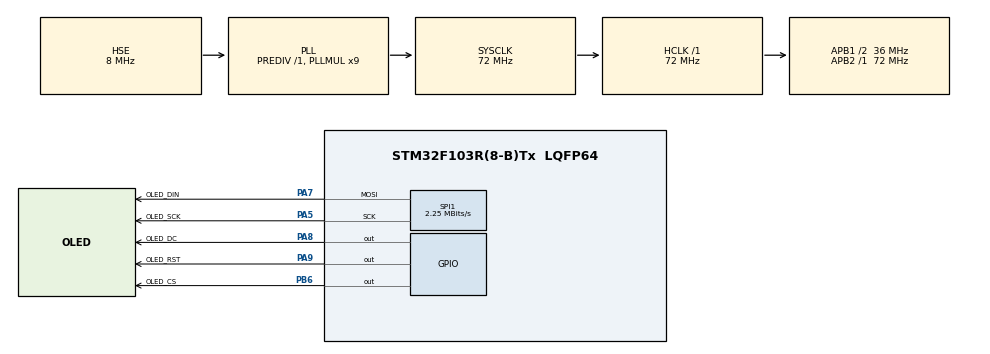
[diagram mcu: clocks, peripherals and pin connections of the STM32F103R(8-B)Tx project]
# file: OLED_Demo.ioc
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Mcu.Family=STM32F1
Mcu.Name=STM32F103R(8-B)Tx
Mcu.Package=LQFP64
NVIC.PriorityGroup=NVIC_PRIORITYGROUP_4
PA13.Mode=Serial_Wire
PA13.Signal=SYS_JTMS-SWDIO
PA14.Mode=Serial_Wire
PA14.Signal=SYS_JTCK-SWCLK
PA5.GPIO_Label=OLED_SCK
PA5.Mode=TX_Only_Simplex_Unidirect_Master
PA5.Signal=SPI1_SCK
PA7.GPIO_Label=OLED_DIN
PA7.Mode=TX_Only_Simplex_Unidirect_Master
PA7.Signal=SPI1_MOSI
PA8.GPIO_Label=OLED_DC
PA8.GPIO_Speed=GPIO_SPEED_FREQ_HIGH
PA8.PinState=GPIO_PIN_SET
PA8.Signal=GPIO_Output
PA9.GPIO_Label=OLED_RST
PA9.GPIO_Speed=GPIO_SPEED_FREQ_HIGH
PA9.PinState=GPIO_PIN_SET
PA9.Signal=GPIO_Output
PB6.GPIO_Label=OLED_CS
PB6.GPIO_Speed=GPIO_SPEED_FREQ_HIGH
PB6.PinState=GPIO_PIN_SET
PB6.Signal=GPIO_Output
PD0-OSC_IN.Mode=HSE-External-Oscillator
PD0-OSC_IN.Signal=RCC_OSC_IN
PD1-OSC_OUT.Mode=HSE-External-Oscillator
PD1-OSC_OUT.Signal=RCC_OSC_OUT
ProjectManager.HeapSize=0x200
ProjectManager.StackSize=0x400
ProjectManager.TargetToolchain=MDK-ARM V5
RCC.AHBFreq_Value=72000000
RCC.APB1CLKDivider=RCC_HCLK_DIV2
RCC.APB1Freq_Value=36000000
RCC.APB1TimFreq_Value=72000000
RCC.APB2Freq_Value=72000000
RCC.APB2TimFreq_Value=72000000
RCC.HCLKFreq_Value=72000000
RCC.PLLMUL=RCC_PLL_MUL9
RCC.PLLSourceVirtual=RCC_PLLSOURCE_HSE
RCC.SYSCLKFreq_VALUE=72000000
RCC.SYSCLKSource=RCC_SYSCLKSOURCE_PLLCLK
RCC.USBFreq_Value=72000000
SPI1.BaudRatePrescaler=SPI_BAUDRATEPRESCALER_32
SPI1.CalculateBaudRate=2.25 MBits/s
SPI1.Direction=SPI_DIRECTION_2LINES
SPI1.Mode=SPI_MODE_MASTER
SPI1.VirtualType=VM_MASTER
board=OLED_Demo

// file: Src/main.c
/**
  ******************************************************************************
  * @file           : main.c
  * @brief          : Main program body
  ******************************************************************************
  ** This notice applies to any and all portions of this file
  * that are not between comment pairs USER CODE BEGIN and
  * USER CODE END. Other portions of this file, whether
  * inserted by the user or by software development tools
  * are owned by their respective copyright owners.
  *
  * COPYRIGHT(c) 2018 STMicroelectronics
  *
  * Redistribution and use in source and binary forms, with or without modification,
  * are permitted provided that the following conditions are met:
  *   1. Redistributions of source code must retain the above copyright notice,
  *      this list of conditions and the following disclaimer.
  *   2. Redistributions in binary form must reproduce the above copyright notice,
  *      this list of conditions and the following disclaimer in the documentation
  *      and/or other materials provided with the distribution.
  *   3. Neither the name of STMicroelectronics nor the names of its contributors
  *      may be used to endorse or promote products derived from this software
  *      without specific prior written permission.
  *
  * THIS SOFTWARE IS PROVIDED BY THE COPYRIGHT HOLDERS AND CONTRIBUTORS "AS IS"
  * AND ANY EXPRESS OR IMPLIED WARRANTIES, INCLUDING, BUT NOT LIMITED TO, THE
  * IMPLIED WARRANTIES OF MERCHANTABILITY AND FITNESS FOR A PARTICULAR PURPOSE ARE
  * DISCLAIMED. IN NO EVENT SHALL THE COPYRIGHT HOLDER OR CONTRIBUTORS BE LIABLE
  * FOR ANY DIRECT, INDIRECT, INCIDENTAL, SPECIAL, EXEMPLARY, OR CONSEQUENTIAL
  * DAMAGES (INCLUDING, BUT NOT LIMITED TO, PROCUREMENT OF SUBSTITUTE GOODS OR
  * SERVICES; LOSS OF USE, DATA, OR PROFITS; OR BUSINESS INTERRUPTION) HOWEVER
  * CAUSED AND ON ANY THEORY OF LIABILITY, WHETHER IN CONTRACT, STRICT LIABILITY,
  * OR TORT (INCLUDING NEGLIGENCE OR OTHERWISE) ARISING IN ANY WAY OUT OF THE USE
  * OF THIS SOFTWARE, EVEN IF ADVISED OF THE POSSIBILITY OF SUCH DAMAGE.
  *
  ******************************************************************************
  */
#include "main.h"
#include "stm32f1xx_hal.h"
#include "spi.h"
#include "gpio.h"

/* USER CODE BEGIN Includes */
#include "OLED_Driver.h"
#include "OLED_GFX.h"
/* USER CODE END Includes */

/* USER CODE BEGIN PV */
/* Private variables ---------------------------------------------------------*/

/* USER CODE END PV */

void SystemClock_Config(void);

/* USER CODE BEGIN PFP */
/* Private function prototypes -----------------------------------------------*/
void lcdTestPattern(void);
void testlines(void);
void testfastlines(void);
void testdrawrects(void);
void testfillrects(uint16_t color1, uint16_t color2);
void testfillcircles(uint8_t radius, uint16_t color);
void testdrawcircles(uint16_t color);
void testroundrects(void);
void testtriangles(void);
/* USER CODE END PFP */

/* USER CODE BEGIN 0 */
OLED_GFX oled = OLED_GFX();
/* USER CODE END 0 */

int main(void)
{

  /* MCU Configuration----------------------------------------------------------*/

  /* Reset of all peripherals, Initializes the Flash interface and the Systick. */
  HAL_Init();

  /* Configure the system clock */
  SystemClock_Config();

  /* Initialize all configured peripherals */
  MX_GPIO_Init();
  MX_SPI1_Init();
  /* USER CODE BEGIN 2 */
  oled.Device_Init();

  oled.Display_Interface();
  HAL_Delay(3000);
  oled.Clear_Screen();

  oled.Set_Color(RED);
  oled.print_String(0, 0, "Hello World !", FONT_5X8);
  oled.Set_Color(BLUE);
  oled.print_String(0, 8, "Hello WaveShare", FONT_8X16);
  HAL_Delay(2000);
  oled.Clear_Screen();

  oled.Set_Color(WHITE);
  oled.Draw_Pixel(50,50);
  HAL_Delay(1000);

  lcdTestPattern();
  HAL_Delay(1000);

  testlines();
  HAL_Delay(1000);

  testfastlines();
  HAL_Delay(1000);

  testdrawrects();
  HAL_Delay(1000);

  testfillrects(BLUE,YELLOW);
  HAL_Delay(1000);

  oled.Clear_Screen();
  testfillcircles(63, BLUE);
  HAL_Delay(500);
  testdrawcircles(WHITE);
  HAL_Delay(1000);

  testroundrects();
  HAL_Delay(1000);

  testtriangles();
  HAL_Delay(1000);

  oled.Display_bmp();

  /* USER CODE END 2 */

  /* Infinite loop */
  while (1)
  {

  }

}

void SystemClock_Config(void)
{

  RCC_OscInitTypeDef RCC_OscInitStruct;
  RCC_ClkInitTypeDef RCC_ClkInitStruct;

    /**Initializes the CPU, AHB and APB busses clocks
    */
  RCC_OscInitStruct.OscillatorType = RCC_OSCILLATORTYPE_HSE;
  RCC_OscInitStruct.HSEState = RCC_HSE_ON;
  RCC_OscInitStruct.HSEPredivValue = RCC_HSE_PREDIV_DIV1;
  RCC_OscInitStruct.HSIState = RCC_HSI_ON;
  RCC_OscInitStruct.PLL.PLLState = RCC_PLL_ON;
  RCC_OscInitStruct.PLL.PLLSource = RCC_PLLSOURCE_HSE;
  RCC_OscInitStruct.PLL.PLLMUL = RCC_PLL_MUL9;
  if (HAL_RCC_OscConfig(&RCC_OscInitStruct) != HAL_OK)
  {
    _Error_Handler(__FILE__, __LINE__);
  }

    /**Initializes the CPU, AHB and APB busses clocks
    */
  RCC_ClkInitStruct.ClockType = RCC_CLOCKTYPE_HCLK|RCC_CLOCKTYPE_SYSCLK
                              |RCC_CLOCKTYPE_PCLK1|RCC_CLOCKTYPE_PCLK2;
  RCC_ClkInitStruct.SYSCLKSource = RCC_SYSCLKSOURCE_PLLCLK;
  RCC_ClkInitStruct.AHBCLKDivider = RCC_SYSCLK_DIV1;
  RCC_ClkInitStruct.APB1CLKDivider = RCC_HCLK_DIV2;
  RCC_ClkInitStruct.APB2CLKDivider = RCC_HCLK_DIV1;

  if (HAL_RCC_ClockConfig(&RCC_ClkInitStruct, FLASH_LATENCY_2) != HAL_OK)
  {
    _Error_Handler(__FILE__, __LINE__);
  }

    /**Configure the Systick interrupt time
    */
  HAL_SYSTICK_Config(HAL_RCC_GetHCLKFreq()/1000);

    /**Configure the Systick
    */
  HAL_SYSTICK_CLKSourceConfig(SYSTICK_CLKSOURCE_HCLK);

  /* SysTick_IRQn interrupt configuration */
  HAL_NVIC_SetPriority(SysTick_IRQn, 0, 0);
}

/* USER CODE BEGIN 4 */

void testlines(void)  {

  oled.Set_Color(RED);
  oled.Clear_Screen();
  for (uint16_t x=0; x <= SSD1351_WIDTH - 1; x+=6)  {
    oled.Draw_Line(0, 0, x, SSD1351_HEIGHT - 1);
    HAL_Delay(20);
  }
  for (uint16_t y=0; y < SSD1351_HEIGHT - 1; y+=6)  {
    oled.Draw_Line(0, 0, SSD1351_WIDTH - 1, y);
    HAL_Delay(20);
  }

  oled.Set_Color(YELLOW);
  oled.Clear_Screen();
  for (uint16_t x=0; x < SSD1351_WIDTH - 1; x+=6) {
    oled.Draw_Line(SSD1351_WIDTH - 1, 0, x, SSD1351_HEIGHT - 1);
    HAL_Delay(20);
  }
  for (uint16_t y=0; y < SSD1351_HEIGHT - 1; y+=6) {
    oled.Draw_Line(SSD1351_WIDTH - 1, 0, 0, y);
    HAL_Delay(20);
  }

  oled.Set_Color(BLUE);
  oled.Clear_Screen();
  for (uint16_t x=0; x < SSD1351_WIDTH - 1; x+=6) {
    oled.Draw_Line(0, SSD1351_HEIGHT - 1, x, 0);
    HAL_Delay(20);
  }
  for (uint16_t y=0; y < SSD1351_HEIGHT - 1; y+=6) {
    oled.Draw_Line(0, SSD1351_HEIGHT - 1, SSD1351_WIDTH - 1, y);
    HAL_Delay(20);
  }

  oled.Set_Color(GREEN);
  oled.Clear_Screen();
  for (uint16_t x=0; x < SSD1351_WIDTH - 1; x+=6) {
  oled.Draw_Line(SSD1351_WIDTH - 1, SSD1351_HEIGHT - 1, x, 0 );
    HAL_Delay(20);
  }
  for (uint16_t y=0; y < SSD1351_HEIGHT - 1; y+=6) {
    oled.Draw_Line(SSD1351_WIDTH - 1, SSD1351_HEIGHT - 1, 0, y);
    HAL_Delay(20);
  }
}

void lcdTestPattern(void)
{
  uint32_t i,j;
  oled.Set_Coordinate(0, 0);

  for(i=0;i<128;i++)  {
    for(j=0;j<128;j++)  {
      if(i<16)  {
        oled.Set_Color(RED);
        oled.Write_Data(color_byte, 2);
      }
      else if(i<32) {
        oled.Set_Color(YELLOW);
        oled.Write_Data(color_byte, 2);
      }
      else if(i<48) {
        oled.Set_Color(GREEN);
        oled.Write_Data(color_byte, 2);
      }
      else if(i<64) {
        oled.Set_Color(CYAN);
        oled.Write_Data(color_byte, 2);
      }
      else if(i<80) {
        oled.Set_Color(BLUE);
        oled.Write_Data(color_byte, 2);
      }
      else if(i<96) {
        oled.Set_Color(MAGENTA);
        oled.Write_Data(color_byte, 2);
      }
      else if(i<112)  {
        oled.Set_Color(BLACK);
        oled.Write_Data(color_byte, 2);
      }
      else {
        oled.Set_Color(WHITE);
        oled.Write_Data(color_byte, 2);
      }
    }
  }
}

void testfastlines(void) {

  oled.Set_Color(WHITE);
  oled.Clear_Screen();

  for (uint16_t y=0; y < SSD1351_WIDTH - 1; y+=5) {
    oled.Draw_FastHLine(0, y, SSD1351_WIDTH - 1);
    HAL_Delay(10);
  }
  for (uint16_t x=0; x < SSD1351_HEIGHT - 1; x+=5) {
    oled.Draw_FastVLine(x, 0, SSD1351_HEIGHT - 1);
    HAL_Delay(10);
  }
}

void testdrawrects(void)  {
  oled.Clear_Screen();
  for (uint16_t x=0; x < SSD1351_HEIGHT - 1; x+=6)  {
    oled.Draw_Rect((SSD1351_WIDTH-1)/2 - x/2, (SSD1351_HEIGHT-1)/2 - x/2 , x, x);
    HAL_Delay(10);
  }
}

void testfillrects(uint16_t color1, uint16_t color2)  {

  uint16_t x = SSD1351_HEIGHT - 1;
  oled.Clear_Screen();
  oled.Set_Color(color1);
  oled.Set_FillColor(color2);
  for(; x > 6; x-=6)  {
    oled.Fill_Rect((SSD1351_WIDTH-1)/2 - x/2, (SSD1351_HEIGHT-1)/2 - x/2 , x, x);
  oled.Draw_Rect((SSD1351_WIDTH-1)/2 - x/2, (SSD1351_HEIGHT-1)/2 - x/2 , x, x);
  }
}

void testfillcircles(uint8_t radius, uint16_t color)  {

  oled.Set_Color(color);

  oled.Fill_Circle(64, 64, radius);
  }

void testdrawcircles(uint16_t color)  {

  uint8_t r = 0;
  oled.Set_Color(color);

  for (; r < SSD1351_WIDTH/2; r+=4)  {
    oled.Draw_Circle(64, 64, r);
    HAL_Delay(10);
  }
}

void testroundrects(void) {

  int color = 100;
  int x = 0, y = 0;
  int w = SSD1351_WIDTH - 1, h = SSD1351_HEIGHT - 1;

  oled.Clear_Screen();

  for(int i = 0 ; i <= 20; i++) {

    oled.Draw_RoundRect(x, y, w, h, 5);
    x += 2;
    y += 3;
    w -= 4;
    h -= 6;
    color += 1100;
    oled.Set_Color(color);
  }
}

void testtriangles(void)  {
  oled.Clear_Screen();
  int color = 0xF800;
  int t;
  int w = SSD1351_WIDTH/2;
  int x = SSD1351_HEIGHT-1;
  int y = 0;
  int z = SSD1351_WIDTH;
  for(t = 0 ; t <= 15; t+=1) {
    oled.Draw_Triangle(w, y, y, x, z, x);
    x-=4;
    y+=4;
    z-=4;
    color+=100;
    oled.Set_Color(color);
  }
}

/* USER CODE END 4 */

void _Error_Handler(char *file, int line)
{
  while(1)
  {
  }
}

/************************ (C) COPYRIGHT STMicroelectronics *****END OF FILE****/
